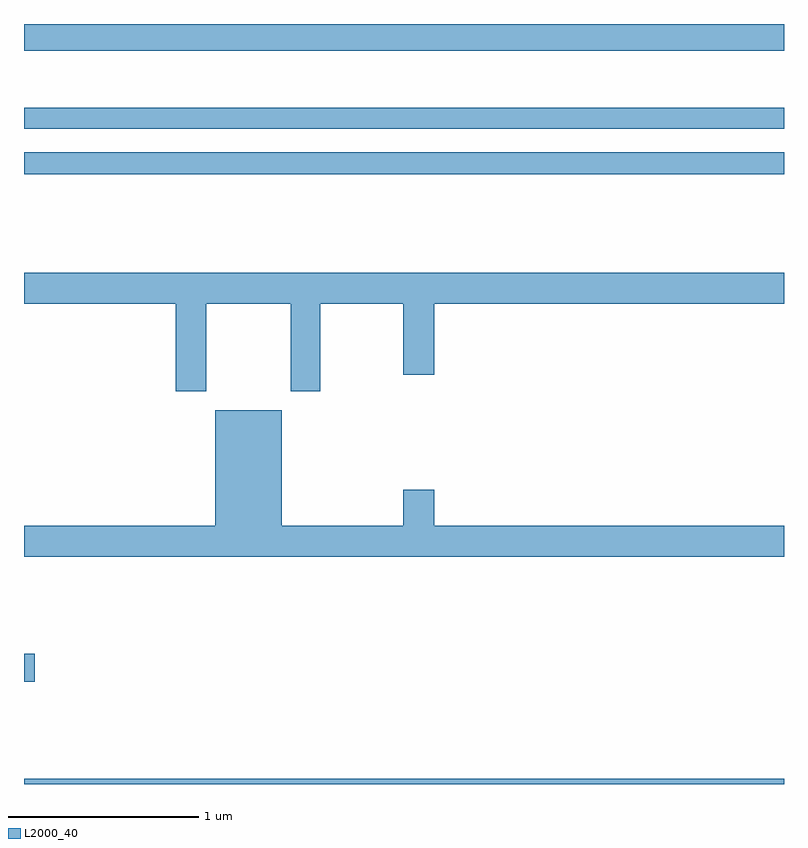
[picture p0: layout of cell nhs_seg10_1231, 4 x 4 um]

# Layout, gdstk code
import gdstk
lib = gdstk.Library(unit=1e-6, precision=1e-09)
def R(c, l, rs):  # rectangles x0, y0, x1, y1
    for r in rs: c.add(gdstk.rectangle(r[:2], r[2:], *l))
def P(c, l, *ps):  # polygons
    for p in ps: c.add(gdstk.Polygon(p, *l))
L2000_40 = (2000, 40)

nhs_seg10_1231 = lib.new_cell('nhs_seg10_1231')
R(nhs_seg10_1231, L2000_40, [(175,1252.5,179,1252.528), (175,1253.039,175.057,1253.186), (175,1255.708,179,1255.824), (175,1255.95,179,1256.059), (175,1256.36,179,1256.5)])
P(nhs_seg10_1231, L2000_40, [(175.959,1255.028),(176.404,1255.028),(176.404,1254.567),(176.559,1254.567),(176.559,1255.028),(176.996,1255.028),(176.996,1254.654),(177.16,1254.654),(177.16,1255.028),(179,1255.028),(179,1255.192),(175,1255.192),(175,1255.028),(175.799,1255.028),(175.799,1254.567),(175.959,1254.567)],
  [(179,1253.86),(177.16,1253.86),(177.16,1254.049),(176.996,1254.049),(176.996,1253.86),(176.356,1253.86),(176.356,1254.466),(176.006,1254.466),(176.006,1253.86),(175,1253.86),(175,1253.696),(179,1253.696)])

lib.write_gds('nhs_seg10_1231.gds')
